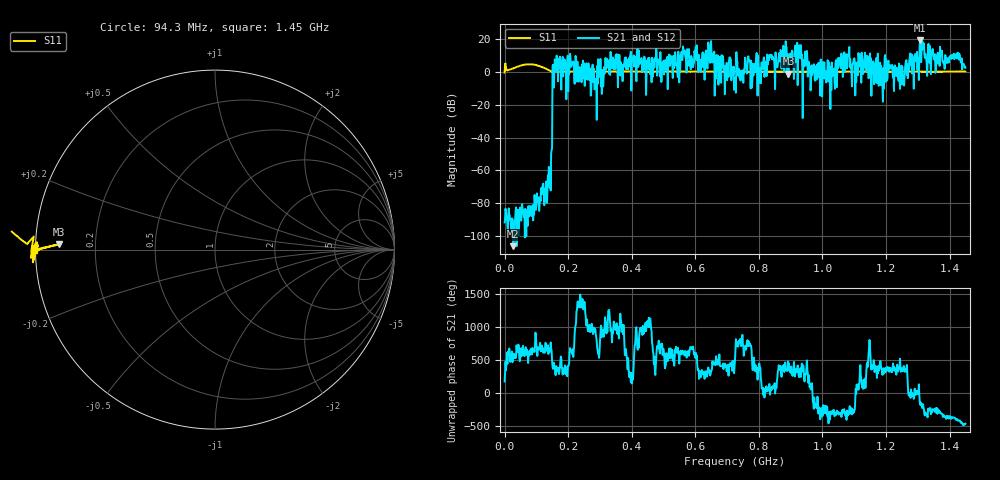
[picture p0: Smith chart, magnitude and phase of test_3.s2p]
! Created with skrf 1.11.0 (http://scikit-rf.org).
# Hz S RI R 50.0
!freq ReS11 ImS11 ReS21 ImS21 ReS12 ImS12 ReS22 ImS22
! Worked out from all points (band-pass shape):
!   1001 points, 50 kHz to 1.45 GHz, reference 50 ohm
!   highest |S21| = 18.97 dB at 1.308 GHz (marker M1); lowest = -106.0 dB at 27.6 MHz (marker M2)
!   |S21| within 3 dB of the highest: 640.6825 MHz to 642.5368 MHz (1.854 MHz wide, 0.289 % of centre); 1.306274 GHz to 1.30965 GHz (3.376 MHz wide, 0.258 % of centre) (the widest 2 of 11)
!   lowest |S11| = -1.2 dB at 893.2 MHz (marker M3), VSWR 14.20, Z = 3.52 + j0.855 ohm
!   |S11| at or under -10 dB: nowhere
!   |S22| runs from - to - dB; largest |S21 - S12| = 0
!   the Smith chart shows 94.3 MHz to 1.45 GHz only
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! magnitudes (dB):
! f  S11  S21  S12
! 50 kHz  -0.6  -91.6  -91.6
! 27.6 MHz  2.1  -106.0  -106.0
! 130.5 MHz  1.8  -66.7  -66.7
! 142.1 MHz  0.6  -70.5  -70.5
! 158.1 MHz  0.0  7.4  7.4
! 242.2 MHz  0.1  -6.4  -6.4
! 285.7 MHz  0.0  -4.5  -4.5
! 346.6 MHz  0.1  7.1  7.1
! 484.3 MHz  0.1  7.3  7.3
! 648.2 MHz  0.1  6.4  6.4
! 668.5 MHz  0.1  8.3  8.3
! 725 MHz  0.1  -5.5  -5.5
! 893.2 MHz  -1.2  -3.3  -3.3
! 926.6 MHz  0.0  11.2  11.2
! 967.2 MHz  0.0  -2.1  -2.1
! 1.032 GHz  0.0  -0.2  -0.2
! 1.079 GHz  0.0  10.5  10.5
! 1.183 GHz  0.0  -8.2  -8.2
! 1.209 GHz  0.0  1.0  1.0
! 1.251 GHz  0.1  3.2  3.2
! 1.308 GHz  0.0  19.0  19.0
! 1.45 GHz  0.1  2.4  2.4
